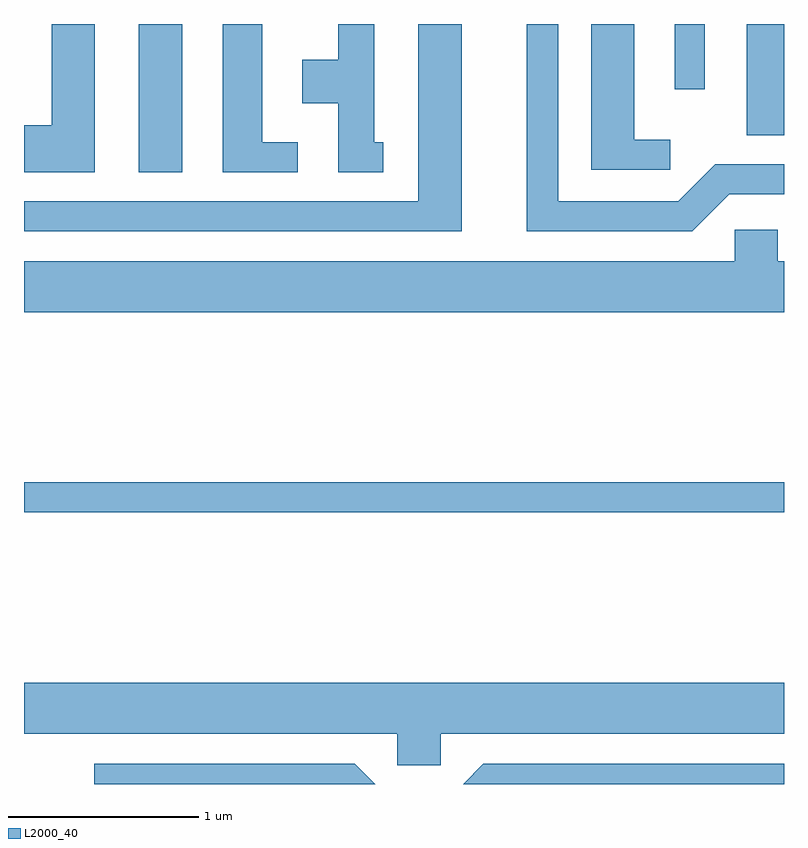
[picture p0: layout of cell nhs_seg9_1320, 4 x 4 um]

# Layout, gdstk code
import gdstk
lib = gdstk.Library(unit=1e-6, precision=1e-09)
def R(c, l, rs):  # rectangles x0, y0, x1, y1
    for r in rs: c.add(gdstk.rectangle(r[:2], r[2:], *l))
def P(c, l, *ps):  # polygons
    for p in ps: c.add(gdstk.Polygon(p, *l))
L2000_40 = (2000, 40)

nhs_seg9_1320 = lib.new_cell('nhs_seg9_1320')
R(nhs_seg9_1320, L2000_40, [(223.611,2001.861,227.611,2002.019), (224.216,2003.651,224.444,2004.432), (227.416,2003.846,227.611,2004.432), (227.036,2004.088,227.194,2004.432)])
P(nhs_seg9_1320, L2000_40, [(225.053,2003.809),(224.864,2003.809),(224.864,2004.432),(224.656,2004.432),(224.656,2003.651),(225.053,2003.651)],
  [(227.322,2003.536),(227.611,2003.536),(227.611,2003.694),(227.249,2003.694),(227.054,2003.499),(226.424,2003.499),(226.424,2004.432),(226.256,2004.432),(226.256,2003.341),(227.127,2003.341)],
  [(225.503,2003.809),(225.454,2003.809),(225.454,2004.432),(225.266,2004.432),(225.266,2004.244),(225.076,2004.244),(225.076,2004.016),(225.266,2004.016),(225.266,2003.651),(225.503,2003.651)],
  [(223.984,2004.432),(223.756,2004.432),(223.756,2003.899),(223.611,2003.899),(223.611,2003.651),(223.984,2003.651)],
  [(227.013,2003.824),(226.824,2003.824),(226.824,2004.432),(226.596,2004.432),(226.596,2003.666),(227.013,2003.666)],
  [(225.914,2004.432),(225.686,2004.432),(225.686,2003.499),(223.611,2003.499),(223.611,2003.341),(225.914,2003.341)],
  [(227.611,2003.184),(227.579,2003.184),(227.579,2003.349),(227.351,2003.349),(227.351,2003.184),(223.611,2003.184),(223.611,2002.916),(227.611,2002.916)],
  [(225.804,2000.696),(227.611,2000.696),(227.611,2000.964),(223.611,2000.964),(223.611,2000.696),(225.576,2000.696),(225.576,2000.531),(225.804,2000.531)],
  [(227.611,2000.539),(226.029,2000.539),(225.922,2000.432),(227.611,2000.432)],
  [(225.352,2000.539),(223.981,2000.539),(223.981,2000.432),(225.459,2000.432)])

lib.write_gds('nhs_seg9_1320.gds')
